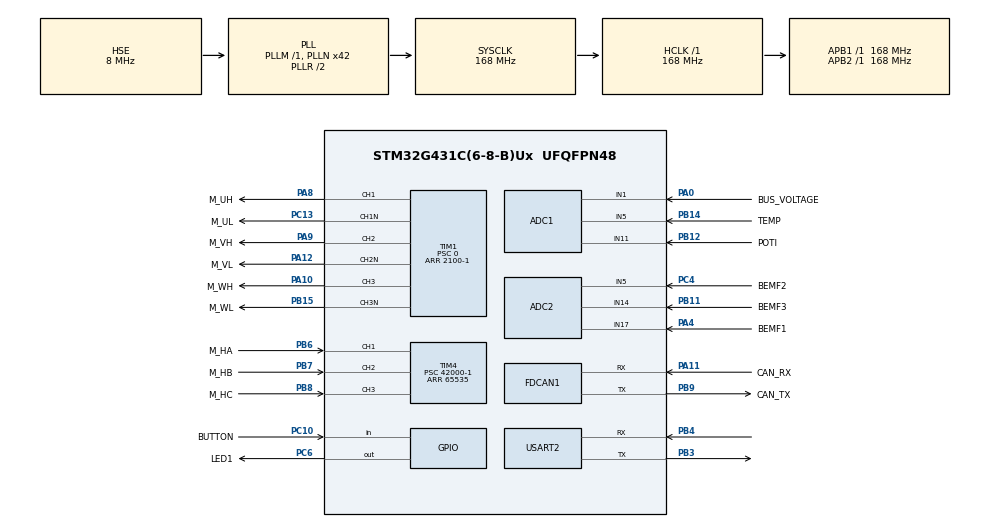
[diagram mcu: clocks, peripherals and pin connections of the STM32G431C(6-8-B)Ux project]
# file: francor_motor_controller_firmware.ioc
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ADC1.Channel-0\#ChannelRegularConversion=ADC_CHANNEL_11
ADC1.ClockPrescaler=ADC_CLOCK_ASYNC_DIV128
ADC1.ContinuousConvMode=ENABLE
ADC1.NbrOfConversionFlag=1
ADC1.OffsetNumber-0\#ChannelRegularConversion=ADC_OFFSET_NONE
ADC1.Overrun=ADC_OVR_DATA_OVERWRITTEN
ADC1.Rank-0\#ChannelRegularConversion=1
ADC1.SamplingTime-0\#ChannelRegularConversion=ADC_SAMPLETIME_2CYCLES_5
ADC1.master=1
ADC2.Channel-0\#ChannelRegularConversion=ADC_CHANNEL_17
ADC2.ClockPrescaler=ADC_CLOCK_ASYNC_DIV128
ADC2.NbrOfConversionFlag=1
ADC2.OffsetNumber-0\#ChannelRegularConversion=ADC_OFFSET_NONE
ADC2.Rank-0\#ChannelRegularConversion=1
ADC2.SamplingTime-0\#ChannelRegularConversion=ADC_SAMPLETIME_2CYCLES_5
Mcu.Family=STM32G4
Mcu.Name=STM32G431C(6-8-B)Ux
Mcu.Package=UFQFPN48
NVIC.ADC1_2_IRQn=true\:0\:0\:false\:false\:true\:true\:true
NVIC.PriorityGroup=NVIC_PRIORITYGROUP_4
NVIC.TIM1_BRK_TIM15_IRQn=true\:0\:0\:false\:false\:true\:true\:true
NVIC.TIM1_CC_IRQn=true\:0\:0\:false\:false\:true\:true\:true
NVIC.TIM1_TRG_COM_TIM17_IRQn=true\:0\:0\:false\:false\:true\:false\:true
NVIC.TIM1_UP_TIM16_IRQn=true\:0\:0\:false\:false\:true\:true\:true
NVIC.TIM4_IRQn=true\:0\:0\:false\:false\:true\:true\:true
PA0.GPIO_Label=BUS_VOLTAGE
PA0.Mode=IN1-Single-Ended
PA0.Signal=ADC1_IN1
PA10.GPIO_Label=M_WH
PA10.GPIO_PuPd=GPIO_PULLDOWN
PA10.GPIO_Speed=GPIO_SPEED_FREQ_LOW
PA10.Signal=S_TIM1_CH3
PA11.GPIO_Label=CAN_RX
PA11.Mode=FDCANMaster
PA11.Signal=FDCAN1_RX
PA12.GPIO_Label=M_VL
PA12.GPIO_PuPd=GPIO_PULLDOWN
PA12.GPIO_Speed=GPIO_SPEED_FREQ_LOW
PA12.Mode=PWM Generation2 CH2 CH2N
PA12.Signal=TIM1_CH2N
PA13.GPIO_Label=SWDIO
PA13.Mode=Serial_Wire
PA13.Signal=SYS_JTMS-SWDIO
PA14.GPIO_Label=SWCLK
PA14.Mode=Serial_Wire
PA14.Signal=SYS_JTCK-SWCLK
PA4.GPIO_Label=BEMF1
PA4.Mode=IN17-Single-Ended
PA4.Signal=ADC2_IN17
PA8.GPIO_Label=M_UH
PA8.GPIO_PuPd=GPIO_PULLDOWN
PA8.GPIO_Speed=GPIO_SPEED_FREQ_LOW
PA8.Signal=S_TIM1_CH1
PA9.GPIO_Label=M_VH
PA9.GPIO_PuPd=GPIO_PULLDOWN
PA9.GPIO_Speed=GPIO_SPEED_FREQ_LOW
PA9.Signal=S_TIM1_CH2
PB11.GPIO_Label=BEMF3
PB11.Mode=IN14-Single-Ended
PB11.Signal=ADC2_IN14
PB12.GPIO_Label=POTI
PB12.Mode=IN11-Single-Ended
PB12.Signal=ADC1_IN11
PB14.GPIO_Label=TEMP
PB14.Mode=IN5-Single-Ended
PB14.Signal=ADC1_IN5
PB15.GPIO_Label=M_WL
PB15.GPIO_PuPd=GPIO_PULLDOWN
PB15.GPIO_Speed=GPIO_SPEED_FREQ_LOW
PB15.Mode=PWM Generation3 CH3 CH3N
PB15.Signal=TIM1_CH3N
PB3.Mode=Asynchronous
PB3.Signal=USART2_TX
PB4.Mode=Asynchronous
PB4.Signal=USART2_RX
PB6.GPIO_Label=M_HA
PB6.Signal=S_TIM4_CH1
PB7.GPIO_Label=M_HB
PB7.Signal=S_TIM4_CH2
PB8-BOOT0.GPIO_Label=M_HC
PB8-BOOT0.Signal=S_TIM4_CH3
PB9.GPIO_Label=CAN_TX
PB9.Mode=FDCANMaster
PB9.Signal=FDCAN1_TX
PC10.GPIO_Label=BUTTON
PC10.Signal=GPIO_Input
PC13.GPIO_Label=M_UL
PC13.GPIO_PuPd=GPIO_PULLDOWN
PC13.Mode=PWM Generation1 CH1 CH1N
PC13.Signal=TIM1_CH1N
PC4.GPIO_Label=BEMF2
PC4.Mode=IN5-Single-Ended
PC4.Signal=ADC2_IN5
PC6.GPIO_Label=LED1
PC6.Signal=GPIO_Output
PF0-OSC_IN.GPIO_Label=OSC_IN
PF0-OSC_IN.Mode=HSE-External-Oscillator
PF0-OSC_IN.Signal=RCC_OSC_IN
PF1-OSC_OUT.GPIO_Label=OSC_OUT
PF1-OSC_OUT.Mode=HSE-External-Oscillator
PF1-OSC_OUT.Signal=RCC_OSC_OUT
ProjectManager.HeapSize=0x200
ProjectManager.StackSize=0x400
ProjectManager.TargetToolchain=STM32CubeIDE
RCC.ADC12Freq_Value=168000000
RCC.AHBFreq_Value=168000000
RCC.APB1Freq_Value=168000000
RCC.APB1TimFreq_Value=168000000
RCC.APB2Freq_Value=168000000
RCC.APB2TimFreq_Value=168000000
RCC.CortexFreq_Value=168000000
RCC.EXTERNAL_CLOCK_VALUE=12288000
RCC.HCLKFreq_Value=168000000
RCC.HSE_VALUE=8000000
RCC.HSI48_VALUE=48000000
RCC.HSI_VALUE=16000000
RCC.LSE_VALUE=32768
RCC.PLLN=42
RCC.PLLSourceVirtual=RCC_PLLSOURCE_HSE
RCC.SYSCLKFreq_VALUE=168000000
RCC.SYSCLKSource=RCC_SYSCLKSOURCE_PLLCLK
RCC.USBFreq_Value=168000000
RCC.VCOOutputFreq_Value=336000000
SH.S_TIM1_CH1.0=TIM1_CH1,PWM Generation1 CH1 CH1N
SH.S_TIM1_CH2.0=TIM1_CH2,PWM Generation2 CH2 CH2N
SH.S_TIM1_CH3.0=TIM1_CH3,PWM Generation3 CH3 CH3N
SH.S_TIM4_CH1.0=TIM4_CH1,Xored_Inputs_Hall_Sensor_Interface
SH.S_TIM4_CH2.0=TIM4_CH2,Xored_Inputs_Hall_Sensor_Interface
SH.S_TIM4_CH3.0=TIM4_CH3,Xored_Inputs_Hall_Sensor_Interface
TIM1.Channel-PWM\ Generation1\ CH1\ CH1N=TIM_CHANNEL_1
TIM1.Channel-PWM\ Generation2\ CH2\ CH2N=TIM_CHANNEL_2
TIM1.Channel-PWM\ Generation3\ CH3\ CH3N=TIM_CHANNEL_3
TIM1.ClockDivision=TIM_CLOCKDIVISION_DIV4
TIM1.DeadTime=193
TIM1.PeriodNoDither=2100-1
TIM1.Prescaler=0
TIM1.TIM_MasterOutputTrigger=TIM_TRGO_RESET
TIM4.AutoReloadPreload=TIM_AUTORELOAD_PRELOAD_DISABLE
TIM4.ClockDivision=TIM_CLOCKDIVISION_DIV4
TIM4.CounterMode=TIM_COUNTERMODE_UP
TIM4.PeriodNoDither=65535
TIM4.Prescaler=42000-1
USART2.VirtualMode-Asynchronous=VM_ASYNC
VP_SYS_VS_DBSignals.Mode=DisableDeadBatterySignals
VP_TIM1_VS_ClockSourceINT.Mode=Internal
VP_TIM4_VS_ClockSourceINT.Mode=Internal
board=custom

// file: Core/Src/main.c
/* USER CODE BEGIN Header */
/**
  ******************************************************************************
  * @file           : main.c
  * @brief          : Main program body
  ******************************************************************************
  * @attention
  *
  * <h2><center>&copy; Copyright (c) 2019 STMicroelectronics.
  * All rights reserved.</center></h2>
  *
  * This software component is licensed by ST under BSD 3-Clause license,
  * the "License"; You may not use this file except in compliance with the
  * License. You may obtain a copy of the License at:
  *                        opensource.org/licenses/BSD-3-Clause
  *
  ******************************************************************************
  */
/* USER CODE END Header */

#include "main.h"

ADC_HandleTypeDef hadc1;
ADC_HandleTypeDef hadc2;

FDCAN_HandleTypeDef hfdcan1;

TIM_HandleTypeDef htim1;
TIM_HandleTypeDef htim4;

UART_HandleTypeDef huart2;

/* USER CODE BEGIN PV */

const uint32_t BLDC_COMMUTATION_FWD[] =
{
  /*TIM_CCER_CC1E | TIM_CCER_CC1NE | TIM_CCER_CC2E | TIM_CCER_CC2NE | TIM_CCER_CC3E | TIM_CCER_CC3NE*/
  0,
  TIM_CCER_CC1E  | TIM_CCER_CC3NE,
  TIM_CCER_CC1NE | TIM_CCER_CC2E,
  TIM_CCER_CC2E  | TIM_CCER_CC3NE,
  TIM_CCER_CC2NE | TIM_CCER_CC3E,
  TIM_CCER_CC1E  | TIM_CCER_CC2NE,
  TIM_CCER_CC1NE | TIM_CCER_CC3E
};

volatile uint16_t g_adc_poti_raw_value = 0u;

/* USER CODE END PV */

void SystemClock_Config(void);
static void MX_GPIO_Init(void);
static void MX_ADC1_Init(void);
static void MX_ADC2_Init(void);
static void MX_FDCAN1_Init(void);
static void MX_TIM1_Init(void);
static void MX_TIM4_Init(void);
static void MX_USART2_UART_Init(void);

/* USER CODE BEGIN 0 */

void initPWM6Step(void)
{
  // Config ADC
  HAL_ADCEx_Calibration_Start(&hadc1, ADC_SINGLE_ENDED);

  // Enable PWM Timer
  HAL_TIM_Base_Start(&htim1);
  HAL_TIM_PWM_Start(&htim1, TIM_CHANNEL_1);
  HAL_TIMEx_PWMN_Start(&htim1, TIM_CHANNEL_1);

  HAL_TIM_PWM_Start(&htim1, TIM_CHANNEL_2);
  HAL_TIMEx_PWMN_Start(&htim1, TIM_CHANNEL_2);

  HAL_TIM_PWM_Start(&htim1, TIM_CHANNEL_3);
  HAL_TIMEx_PWMN_Start(&htim1, TIM_CHANNEL_3);

  // Enable HALL Timer
  __HAL_TIM_ENABLE_IT(&htim4, TIM_IT_CC2);
  HAL_TIMEx_HallSensor_Start_IT(&htim4);

  htim4.Instance->CCR2 = 1000u;

  // Start ADC
  HAL_ADC_Start_IT(&hadc1);
}

void setPulseWidth6Step(const uint32_t pulse_width)
{
  htim1.Instance->CCR1 = pulse_width;
  htim1.Instance->CCR2 = pulse_width;
  htim1.Instance->CCR3 = pulse_width;
}

void update6StepControl(void)
{
  static uint16_t poti_adc_value = 0u;

  poti_adc_value = g_adc_poti_raw_value;
  if(poti_adc_value > htim1.Init.Period) {
    poti_adc_value = htim1.Init.Period;
  }

  setPulseWidth6Step(poti_adc_value);
  HAL_Delay(10u);
}

/* USER CODE END 0 */

int main(void)
{

  /* MCU Configuration--------------------------------------------------------*/

  /* Reset of all peripherals, Initializes the Flash interface and the Systick. */
  HAL_Init();

  /* Configure the system clock */
  SystemClock_Config();

  /* Initialize all configured peripherals */
  MX_GPIO_Init();
  MX_ADC1_Init();
  MX_ADC2_Init();
  MX_FDCAN1_Init();
  MX_TIM1_Init();
  MX_TIM4_Init();
  MX_USART2_UART_Init();

  /* Infinite loop */
  /* USER CODE BEGIN WHILE */

  initPWM6Step();

  while (1)
  {
    update6StepControl();
    /* USER CODE END WHILE */

  }
}

void SystemClock_Config(void)
{
  RCC_OscInitTypeDef RCC_OscInitStruct = {0};
  RCC_ClkInitTypeDef RCC_ClkInitStruct = {0};
  RCC_PeriphCLKInitTypeDef PeriphClkInit = {0};

  /** Configure the main internal regulator output voltage
  */
  HAL_PWREx_ControlVoltageScaling(PWR_REGULATOR_VOLTAGE_SCALE1_BOOST);
  /** Initializes the CPU, AHB and APB busses clocks
  */
  RCC_OscInitStruct.OscillatorType = RCC_OSCILLATORTYPE_HSE;
  RCC_OscInitStruct.HSEState = RCC_HSE_ON;
  RCC_OscInitStruct.PLL.PLLState = RCC_PLL_ON;
  RCC_OscInitStruct.PLL.PLLSource = RCC_PLLSOURCE_HSE;
  RCC_OscInitStruct.PLL.PLLM = RCC_PLLM_DIV1;
  RCC_OscInitStruct.PLL.PLLN = 42;
  RCC_OscInitStruct.PLL.PLLP = RCC_PLLP_DIV2;
  RCC_OscInitStruct.PLL.PLLQ = RCC_PLLQ_DIV2;
  RCC_OscInitStruct.PLL.PLLR = RCC_PLLR_DIV2;
  if (HAL_RCC_OscConfig(&RCC_OscInitStruct) != HAL_OK)
  {
    Error_Handler();
  }
  /** Initializes the CPU, AHB and APB busses clocks
  */
  RCC_ClkInitStruct.ClockType = RCC_CLOCKTYPE_HCLK|RCC_CLOCKTYPE_SYSCLK
                              |RCC_CLOCKTYPE_PCLK1|RCC_CLOCKTYPE_PCLK2;
  RCC_ClkInitStruct.SYSCLKSource = RCC_SYSCLKSOURCE_PLLCLK;
  RCC_ClkInitStruct.AHBCLKDivider = RCC_SYSCLK_DIV1;
  RCC_ClkInitStruct.APB1CLKDivider = RCC_HCLK_DIV1;
  RCC_ClkInitStruct.APB2CLKDivider = RCC_HCLK_DIV1;

  if (HAL_RCC_ClockConfig(&RCC_ClkInitStruct, FLASH_LATENCY_8) != HAL_OK)
  {
    Error_Handler();
  }
  /** Initializes the peripherals clocks
  */
  PeriphClkInit.PeriphClockSelection = RCC_PERIPHCLK_USART2|RCC_PERIPHCLK_ADC12
                              |RCC_PERIPHCLK_FDCAN;
  PeriphClkInit.Usart2ClockSelection = RCC_USART2CLKSOURCE_PCLK1;
  PeriphClkInit.FdcanClockSelection = RCC_FDCANCLKSOURCE_PCLK1;
  PeriphClkInit.Adc12ClockSelection = RCC_ADC12CLKSOURCE_SYSCLK;
  if (HAL_RCCEx_PeriphCLKConfig(&PeriphClkInit) != HAL_OK)
  {
    Error_Handler();
  }
}

static void MX_ADC1_Init(void)
{

  ADC_MultiModeTypeDef multimode = {0};
  ADC_ChannelConfTypeDef sConfig = {0};

  /** Common config
  */
  hadc1.Instance = ADC1;
  hadc1.Init.ClockPrescaler = ADC_CLOCK_ASYNC_DIV128;
  hadc1.Init.Resolution = ADC_RESOLUTION_12B;
  hadc1.Init.DataAlign = ADC_DATAALIGN_RIGHT;
  hadc1.Init.GainCompensation = 0;
  hadc1.Init.ScanConvMode = ADC_SCAN_DISABLE;
  hadc1.Init.EOCSelection = ADC_EOC_SINGLE_CONV;
  hadc1.Init.LowPowerAutoWait = DISABLE;
  hadc1.Init.ContinuousConvMode = ENABLE;
  hadc1.Init.NbrOfConversion = 1;
  hadc1.Init.DiscontinuousConvMode = DISABLE;
  hadc1.Init.ExternalTrigConv = ADC_SOFTWARE_START;
  hadc1.Init.ExternalTrigConvEdge = ADC_EXTERNALTRIGCONVEDGE_NONE;
  hadc1.Init.DMAContinuousRequests = DISABLE;
  hadc1.Init.Overrun = ADC_OVR_DATA_OVERWRITTEN;
  hadc1.Init.OversamplingMode = DISABLE;
  if (HAL_ADC_Init(&hadc1) != HAL_OK)
  {
    Error_Handler();
  }
  /** Configure the ADC multi-mode
  */
  multimode.Mode = ADC_MODE_INDEPENDENT;
  if (HAL_ADCEx_MultiModeConfigChannel(&hadc1, &multimode) != HAL_OK)
  {
    Error_Handler();
  }
  /** Configure Regular Channel
  */
  sConfig.Channel = ADC_CHANNEL_11;
  sConfig.Rank = ADC_REGULAR_RANK_1;
  sConfig.SamplingTime = ADC_SAMPLETIME_2CYCLES_5;
  sConfig.SingleDiff = ADC_SINGLE_ENDED;
  sConfig.OffsetNumber = ADC_OFFSET_NONE;
  sConfig.Offset = 0;
  if (HAL_ADC_ConfigChannel(&hadc1, &sConfig) != HAL_OK)
  {
    Error_Handler();
  }

}

static void MX_ADC2_Init(void)
{

  ADC_ChannelConfTypeDef sConfig = {0};

  /** Common config
  */
  hadc2.Instance = ADC2;
  hadc2.Init.ClockPrescaler = ADC_CLOCK_ASYNC_DIV128;
  hadc2.Init.Resolution = ADC_RESOLUTION_12B;
  hadc2.Init.DataAlign = ADC_DATAALIGN_RIGHT;
  hadc2.Init.GainCompensation = 0;
  hadc2.Init.ScanConvMode = ADC_SCAN_DISABLE;
  hadc2.Init.EOCSelection = ADC_EOC_SINGLE_CONV;
  hadc2.Init.LowPowerAutoWait = DISABLE;
  hadc2.Init.ContinuousConvMode = DISABLE;
  hadc2.Init.NbrOfConversion = 1;
  hadc2.Init.DiscontinuousConvMode = DISABLE;
  hadc2.Init.ExternalTrigConv = ADC_SOFTWARE_START;
  hadc2.Init.ExternalTrigConvEdge = ADC_EXTERNALTRIGCONVEDGE_NONE;
  hadc2.Init.DMAContinuousRequests = DISABLE;
  hadc2.Init.Overrun = ADC_OVR_DATA_PRESERVED;
  hadc2.Init.OversamplingMode = DISABLE;
  if (HAL_ADC_Init(&hadc2) != HAL_OK)
  {
    Error_Handler();
  }
  /** Configure Regular Channel
  */
  sConfig.Channel = ADC_CHANNEL_17;
  sConfig.Rank = ADC_REGULAR_RANK_1;
  sConfig.SamplingTime = ADC_SAMPLETIME_2CYCLES_5;
  sConfig.SingleDiff = ADC_SINGLE_ENDED;
  sConfig.OffsetNumber = ADC_OFFSET_NONE;
  sConfig.Offset = 0;
  if (HAL_ADC_ConfigChannel(&hadc2, &sConfig) != HAL_OK)
  {
    Error_Handler();
  }

}

static void MX_FDCAN1_Init(void)
{

  hfdcan1.Instance = FDCAN1;
  hfdcan1.Init.ClockDivider = FDCAN_CLOCK_DIV1;
  hfdcan1.Init.FrameFormat = FDCAN_FRAME_CLASSIC;
  hfdcan1.Init.Mode = FDCAN_MODE_NORMAL;
  hfdcan1.Init.AutoRetransmission = DISABLE;
  hfdcan1.Init.TransmitPause = DISABLE;
  hfdcan1.Init.ProtocolException = DISABLE;
  hfdcan1.Init.NominalPrescaler = 1;
  hfdcan1.Init.NominalSyncJumpWidth = 1;
  hfdcan1.Init.NominalTimeSeg1 = 2;
  hfdcan1.Init.NominalTimeSeg2 = 2;
  hfdcan1.Init.DataPrescaler = 1;
  hfdcan1.Init.DataSyncJumpWidth = 1;
  hfdcan1.Init.DataTimeSeg1 = 1;
  hfdcan1.Init.DataTimeSeg2 = 1;
  hfdcan1.Init.StdFiltersNbr = 0;
  hfdcan1.Init.ExtFiltersNbr = 0;
  hfdcan1.Init.TxFifoQueueMode = FDCAN_TX_FIFO_OPERATION;
  if (HAL_FDCAN_Init(&hfdcan1) != HAL_OK)
  {
    Error_Handler();
  }

}

static void MX_TIM1_Init(void)
{

  TIM_ClockConfigTypeDef sClockSourceConfig = {0};
  TIM_MasterConfigTypeDef sMasterConfig = {0};
  TIM_OC_InitTypeDef sConfigOC = {0};
  TIM_BreakDeadTimeConfigTypeDef sBreakDeadTimeConfig = {0};

  htim1.Instance = TIM1;
  htim1.Init.Prescaler = 0;
  htim1.Init.CounterMode = TIM_COUNTERMODE_UP;
  htim1.Init.Period = 2099;
  htim1.Init.ClockDivision = TIM_CLOCKDIVISION_DIV4;
  htim1.Init.RepetitionCounter = 0;
  htim1.Init.AutoReloadPreload = TIM_AUTORELOAD_PRELOAD_DISABLE;
  if (HAL_TIM_Base_Init(&htim1) != HAL_OK)
  {
    Error_Handler();
  }
  sClockSourceConfig.ClockSource = TIM_CLOCKSOURCE_INTERNAL;
  if (HAL_TIM_ConfigClockSource(&htim1, &sClockSourceConfig) != HAL_OK)
  {
    Error_Handler();
  }
  if (HAL_TIM_PWM_Init(&htim1) != HAL_OK)
  {
    Error_Handler();
  }
  sMasterConfig.MasterOutputTrigger = TIM_TRGO_RESET;
  sMasterConfig.MasterOutputTrigger2 = TIM_TRGO2_RESET;
  sMasterConfig.MasterSlaveMode = TIM_MASTERSLAVEMODE_DISABLE;
  if (HAL_TIMEx_MasterConfigSynchronization(&htim1, &sMasterConfig) != HAL_OK)
  {
    Error_Handler();
  }
  sConfigOC.OCMode = TIM_OCMODE_PWM1;
  sConfigOC.Pulse = 0;
  sConfigOC.OCPolarity = TIM_OCPOLARITY_HIGH;
  sConfigOC.OCNPolarity = TIM_OCNPOLARITY_HIGH;
  sConfigOC.OCFastMode = TIM_OCFAST_DISABLE;
  sConfigOC.OCIdleState = TIM_OCIDLESTATE_RESET;
  sConfigOC.OCNIdleState = TIM_OCNIDLESTATE_RESET;
  if (HAL_TIM_PWM_ConfigChannel(&htim1, &sConfigOC, TIM_CHANNEL_1) != HAL_OK)
  {
    Error_Handler();
  }
  sConfigOC.Pulse = 0;
  if (HAL_TIM_PWM_ConfigChannel(&htim1, &sConfigOC, TIM_CHANNEL_2) != HAL_OK)
  {
    Error_Handler();
  }
  sConfigOC.Pulse = 0;
  if (HAL_TIM_PWM_ConfigChannel(&htim1, &sConfigOC, TIM_CHANNEL_3) != HAL_OK)
  {
    Error_Handler();
  }
  sBreakDeadTimeConfig.OffStateRunMode = TIM_OSSR_DISABLE;
  sBreakDeadTimeConfig.OffStateIDLEMode = TIM_OSSI_DISABLE;
  sBreakDeadTimeConfig.LockLevel = TIM_LOCKLEVEL_OFF;
  sBreakDeadTimeConfig.DeadTime = 193;
  sBreakDeadTimeConfig.BreakState = TIM_BREAK_DISABLE;
  sBreakDeadTimeConfig.BreakPolarity = TIM_BREAKPOLARITY_HIGH;
  sBreakDeadTimeConfig.BreakFilter = 0;
  sBreakDeadTimeConfig.BreakAFMode = TIM_BREAK_AFMODE_INPUT;
  sBreakDeadTimeConfig.Break2State = TIM_BREAK2_DISABLE;
  sBreakDeadTimeConfig.Break2Polarity = TIM_BREAK2POLARITY_HIGH;
  sBreakDeadTimeConfig.Break2Filter = 0;
  sBreakDeadTimeConfig.Break2AFMode = TIM_BREAK_AFMODE_INPUT;
  sBreakDeadTimeConfig.AutomaticOutput = TIM_AUTOMATICOUTPUT_DISABLE;
  if (HAL_TIMEx_ConfigBreakDeadTime(&htim1, &sBreakDeadTimeConfig) != HAL_OK)
  {
    Error_Handler();
  }
  HAL_TIM_MspPostInit(&htim1);

}

static void MX_TIM4_Init(void)
{

  TIM_ClockConfigTypeDef sClockSourceConfig = {0};
  TIM_HallSensor_InitTypeDef sConfig = {0};
  TIM_MasterConfigTypeDef sMasterConfig = {0};

  htim4.Instance = TIM4;
  htim4.Init.Prescaler = 42000-1;
  htim4.Init.CounterMode = TIM_COUNTERMODE_UP;
  htim4.Init.Period = 65535;
  htim4.Init.ClockDivision = TIM_CLOCKDIVISION_DIV4;
  htim4.Init.AutoReloadPreload = TIM_AUTORELOAD_PRELOAD_DISABLE;
  if (HAL_TIM_Base_Init(&htim4) != HAL_OK)
  {
    Error_Handler();
  }
  sClockSourceConfig.ClockSource = TIM_CLOCKSOURCE_INTERNAL;
  if (HAL_TIM_ConfigClockSource(&htim4, &sClockSourceConfig) != HAL_OK)
  {
    Error_Handler();
  }
  sConfig.IC1Polarity = TIM_ICPOLARITY_RISING;
  sConfig.IC1Prescaler = TIM_ICPSC_DIV1;
  sConfig.IC1Filter = 0;
  sConfig.Commutation_Delay = 0;
  if (HAL_TIMEx_HallSensor_Init(&htim4, &sConfig) != HAL_OK)
  {
    Error_Handler();
  }
  sMasterConfig.MasterOutputTrigger = TIM_TRGO_OC2REF;
  sMasterConfig.MasterSlaveMode = TIM_MASTERSLAVEMODE_DISABLE;
  if (HAL_TIMEx_MasterConfigSynchronization(&htim4, &sMasterConfig) != HAL_OK)
  {
    Error_Handler();
  }

}

static void MX_USART2_UART_Init(void)
{

  huart2.Instance = USART2;
  huart2.Init.BaudRate = 115200;
  huart2.Init.WordLength = UART_WORDLENGTH_8B;
  huart2.Init.StopBits = UART_STOPBITS_1;
  huart2.Init.Parity = UART_PARITY_NONE;
  huart2.Init.Mode = UART_MODE_TX_RX;
  huart2.Init.HwFlowCtl = UART_HWCONTROL_NONE;
  huart2.Init.OverSampling = UART_OVERSAMPLING_16;
  huart2.Init.OneBitSampling = UART_ONE_BIT_SAMPLE_DISABLE;
  huart2.Init.ClockPrescaler = UART_PRESCALER_DIV1;
  huart2.AdvancedInit.AdvFeatureInit = UART_ADVFEATURE_NO_INIT;
  if (HAL_UART_Init(&huart2) != HAL_OK)
  {
    Error_Handler();
  }
  if (HAL_UARTEx_SetTxFifoThreshold(&huart2, UART_TXFIFO_THRESHOLD_1_8) != HAL_OK)
  {
    Error_Handler();
  }
  if (HAL_UARTEx_SetRxFifoThreshold(&huart2, UART_RXFIFO_THRESHOLD_1_8) != HAL_OK)
  {
    Error_Handler();
  }
  if (HAL_UARTEx_DisableFifoMode(&huart2) != HAL_OK)
  {
    Error_Handler();
  }

}

static void MX_GPIO_Init(void)
{
  GPIO_InitTypeDef GPIO_InitStruct = {0};

  /* GPIO Ports Clock Enable */
  __HAL_RCC_GPIOC_CLK_ENABLE();
  __HAL_RCC_GPIOF_CLK_ENABLE();
  __HAL_RCC_GPIOA_CLK_ENABLE();
  __HAL_RCC_GPIOB_CLK_ENABLE();

  /*Configure GPIO pin Output Level */
  HAL_GPIO_WritePin(LED1_GPIO_Port, LED1_Pin, GPIO_PIN_RESET);

  /*Configure GPIO pin : LED1_Pin */
  GPIO_InitStruct.Pin = LED1_Pin;
  GPIO_InitStruct.Mode = GPIO_MODE_OUTPUT_PP;
  GPIO_InitStruct.Pull = GPIO_NOPULL;
  GPIO_InitStruct.Speed = GPIO_SPEED_FREQ_LOW;
  HAL_GPIO_Init(LED1_GPIO_Port, &GPIO_InitStruct);

  /*Configure GPIO pin : BUTTON_Pin */
  GPIO_InitStruct.Pin = BUTTON_Pin;
  GPIO_InitStruct.Mode = GPIO_MODE_INPUT;
  GPIO_InitStruct.Pull = GPIO_NOPULL;
  HAL_GPIO_Init(BUTTON_GPIO_Port, &GPIO_InitStruct);

}

/* USER CODE BEGIN 4 */

void HAL_TIM_IC_CaptureCallback(TIM_HandleTypeDef *htim)
{
  if(htim->Instance == htim4.Instance)
  {
    const uint8_t enc = (HAL_GPIO_ReadPin(M_HA_GPIO_Port, M_HA_Pin)
                               | (HAL_GPIO_ReadPin(M_HB_GPIO_Port, M_HB_Pin) << 1U)
                               | (HAL_GPIO_ReadPin(M_HC_GPIO_Port, M_HC_Pin) << 2u));

    htim1.Instance->CCER = BLDC_COMMUTATION_FWD[enc];

    HAL_GPIO_TogglePin(LED1_GPIO_Port, LED1_Pin);
  }

}

void HAL_ADC_ConvCpltCallback(ADC_HandleTypeDef* hadc)
{
  /* Check if ADC1 is triggered */
  if(hadc->Instance == hadc1.Instance)
  {
    g_adc_poti_raw_value = hadc->Instance->DR & 0xFFF;
  }
}

/* USER CODE END 4 */

void Error_Handler(void)
{
}

/************************ (C) COPYRIGHT STMicroelectronics *****END OF FILE****/
